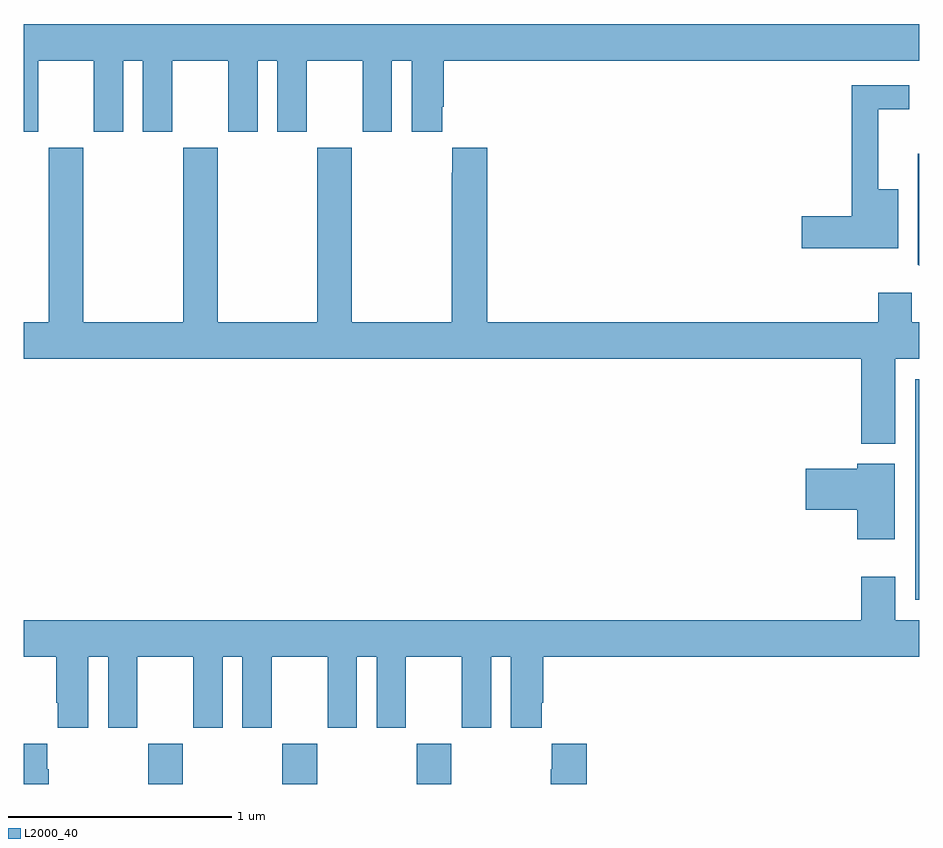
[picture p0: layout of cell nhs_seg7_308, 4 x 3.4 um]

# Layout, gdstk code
import gdstk
lib = gdstk.Library(unit=1e-6, precision=1e-09)
def R(c, l, rs):  # rectangles x0, y0, x1, y1
    for r in rs: c.add(gdstk.rectangle(r[:2], r[2:], *l))
def A(c, l, x, y, w, h, nx, ny, dx, dy):  # array of equal rectangles
    R(c, l, [(x+i*dx, y+j*dy, x+i*dx+w, y+j*dy+h) for i in range(nx) for j in range(ny)])
def P(c, l, *ps):  # polygons
    for p in ps: c.add(gdstk.Polygon(p, *l))
L2000_40 = (2000, 40)

nhs_seg7_308 = lib.new_cell('nhs_seg7_308')
A(nhs_seg7_308, L2000_40, 133.555, 1048, 0.155, 0.18, 3, 1, 0.6, 0)
R(nhs_seg7_308, L2000_40, [(136.983,1048.824,137,1049.808)])
P(nhs_seg7_308, L2000_40, [(133.063,1051.232),(133.313,1051.232),(133.313,1050.915),(133.444,1050.915),(133.444,1051.232),(133.532,1051.232),(133.532,1050.915),(133.663,1050.915),(133.663,1051.232),(133.913,1051.232),(133.913,1050.915),(134.044,1050.915),(134.044,1051.232),(134.132,1051.232),(134.132,1050.915),(134.263,1050.915),(134.263,1051.232),(134.513,1051.232),(134.513,1050.915),(134.644,1050.915),(134.644,1051.232),(134.732,1051.232),(134.732,1050.915),(134.869,1050.915),(134.869,1051.027),(134.876,1051.027),(134.876,1051.232),(137,1051.232),(137,1051.396),(133,1051.396),(133,1050.915),(133.063,1050.915)],
  [(136.906,1050.658),(136.817,1050.658),(136.817,1051.014),(136.957,1051.014),(136.957,1051.122),(136.699,1051.122),(136.699,1050.536),(136.476,1050.536),(136.476,1050.394),(136.906,1050.394)],
  [(136.894,1049.9),(137,1049.9),(137,1050.064),(136.968,1050.064),(136.968,1050.196),(136.817,1050.196),(136.817,1050.064),(135.071,1050.064),(135.071,1050.844),(134.915,1050.844),(134.915,1050.731),(134.911,1050.731),(134.911,1050.064),(134.466,1050.064),(134.466,1050.844),(134.311,1050.844),(134.311,1050.064),(133.866,1050.064),(133.866,1050.844),(133.711,1050.844),(133.711,1050.064),(133.266,1050.064),(133.266,1050.844),(133.111,1050.844),(133.111,1050.064),(133,1050.064),(133,1049.9),(136.742,1049.9),(136.742,1049.52),(136.894,1049.52)],
  [(137,1050.817),(136.995,1050.817),(136.995,1050.321),(137,1050.316)],
  [(136.891,1049.431),(136.724,1049.431),(136.724,1049.408),(136.494,1049.408),(136.494,1049.225),(136.724,1049.225),(136.724,1049.094),(136.891,1049.094)],
  [(133.288,1048.568),(133.376,1048.568),(133.376,1048.251),(133.507,1048.251),(133.507,1048.568),(133.757,1048.568),(133.757,1048.251),(133.888,1048.251),(133.888,1048.568),(133.976,1048.568),(133.976,1048.251),(134.107,1048.251),(134.107,1048.568),(134.357,1048.568),(134.357,1048.251),(134.488,1048.251),(134.488,1048.568),(134.576,1048.568),(134.576,1048.251),(134.707,1048.251),(134.707,1048.568),(134.957,1048.568),(134.957,1048.251),(135.088,1048.251),(135.088,1048.568),(135.176,1048.568),(135.176,1048.251),(135.313,1048.251),(135.313,1048.363),(135.32,1048.363),(135.32,1048.568),(137,1048.568),(137,1048.732),(136.894,1048.732),(136.894,1048.927),(136.742,1048.927),(136.742,1048.732),(133,1048.732),(133,1048.568),(133.145,1048.568),(133.145,1048.363),(133.151,1048.363),(133.151,1048.251),(133.288,1048.251)],
  [(135.515,1048.18),(135.359,1048.18),(135.359,1048.067),(135.355,1048.067),(135.355,1048),(135.515,1048)],
  [(133.11,1048.067),(133.105,1048.067),(133.105,1048.18),(133,1048.18),(133,1048),(133.11,1048)])

lib.write_gds('nhs_seg7_308.gds')
